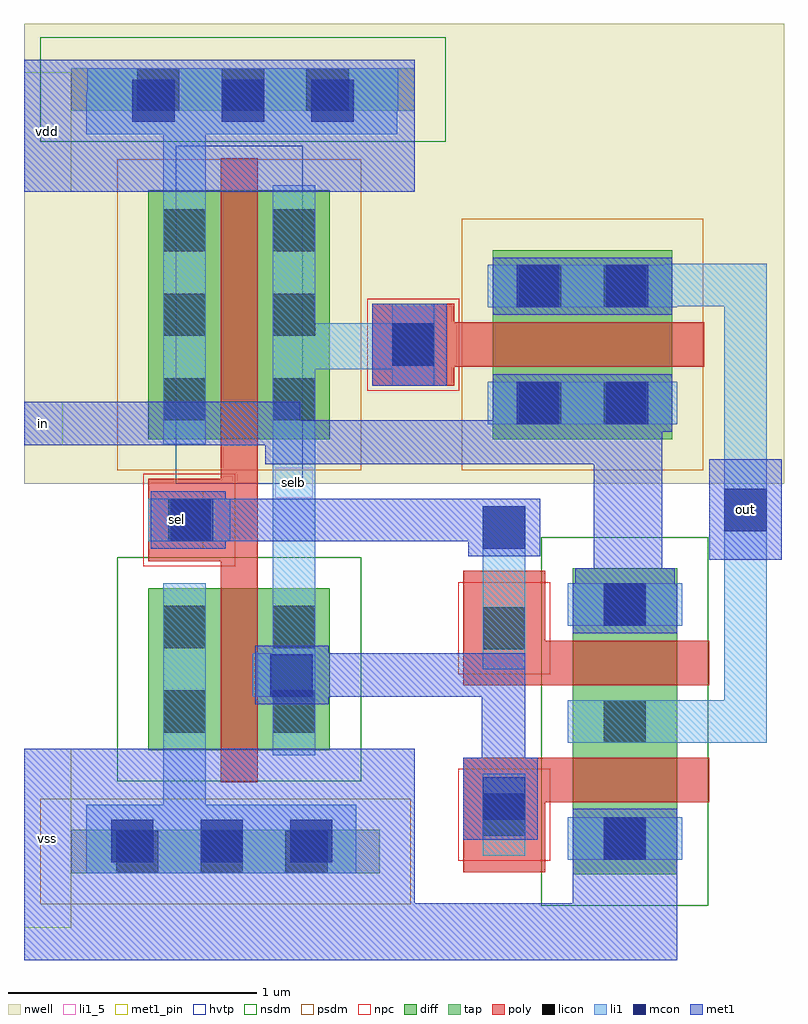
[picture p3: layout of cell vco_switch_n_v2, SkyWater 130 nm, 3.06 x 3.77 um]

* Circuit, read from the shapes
.subckt vco_switch_n_v2 in out sel selb vdd vss
XM1 selb sel vss vss sky130_fd_pr__nfet_01v8 w=0.65 l=0.15
XM2 out selb vss vss sky130_fd_pr__nfet_01v8 w=0.42 l=0.18
XM3 in sel out vss sky130_fd_pr__nfet_01v8 w=0.42 l=0.18
XM4 selb sel vdd vdd sky130_fd_pr__pfet_01v8_hvt w=1 l=0.15
XM5 out selb in vdd sky130_fd_pr__pfet_01v8 w=0.72 l=0.18
.ends

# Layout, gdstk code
from math import pi, radians
import gdstk
lib = gdstk.Library(unit=1e-6, precision=1e-09)
def R(c, l, rs):  # rectangles x0, y0, x1, y1
    for r in rs: c.add(gdstk.rectangle(r[:2], r[2:], *l))
def A(c, l, x, y, w, h, nx, ny, dx, dy):  # array of equal rectangles
    R(c, l, [(x+i*dx, y+j*dy, x+i*dx+w, y+j*dy+h) for i in range(nx) for j in range(ny)])
nwell = (64, 20)
diff = (65, 20)
tap = (65, 44)
poly = (66, 20)
licon = (66, 44)
li1_5 = (67, 5)
li1 = (67, 20)
mcon = (67, 44)
met1_pin = (68, 16)
met1 = (68, 20)
hvtp = (78, 44)
nsdm = (93, 44)
psdm = (94, 20)
npc = (95, 20)

sky130_fd_pr__pfet_01v8_ = lib.new_cell('sky130_fd_pr__pfet_01v8_hvt_N83GLL')
R(sky130_fd_pr__pfet_01v8_, nwell, [(-0.545,-0.68,0.545,0.81)])
R(sky130_fd_pr__pfet_01v8_, diff, [(-0.365,-0.5,0.365,0.5)])
R(sky130_fd_pr__pfet_01v8_, poly, [(-0.075,-0.66,0.075,0.63)])
A(sky130_fd_pr__pfet_01v8_, licon, -0.305, -0.425, 0.17, 0.17, 1, 3, 0, 0.34)
A(sky130_fd_pr__pfet_01v8_, licon, 0.135, -0.425, 0.17, 0.17, 1, 3, 0, 0.34)
R(sky130_fd_pr__pfet_01v8_, li1, [(-0.305,-0.52,-0.135,0.52), (0.135,-0.52,0.305,0.52)])
R(sky130_fd_pr__pfet_01v8_, hvtp, [(-0.255,-0.68,0.255,0.68)])
R(sky130_fd_pr__pfet_01v8_, psdm, [(-0.49,-0.625,0.49,0.625)])

sky130_fd_pr__nfet_01v8_ = lib.new_cell('sky130_fd_pr__nfet_01v8_M34CP3')
R(sky130_fd_pr__nfet_01v8_, diff, [(-0.365,-0.48,0.365,0.17)])
R(sky130_fd_pr__nfet_01v8_, poly, [(-0.075,-0.61,0.075,0.28), (-0.365,0.28,0.075,0.61)])
R(sky130_fd_pr__nfet_01v8_, licon, [(-0.305,-0.41,-0.135,-0.24), (0.135,-0.41,0.305,-0.24), (-0.305,-0.07,-0.135,0.1), (0.135,-0.07,0.305,0.1), (-0.285,0.36,-0.115,0.53)])
R(sky130_fd_pr__nfet_01v8_, li1, [(-0.305,-0.5,-0.135,0.19), (0.135,-0.5,0.305,0.19), (-0.365,0.36,-0.035,0.53)])
R(sky130_fd_pr__nfet_01v8_, nsdm, [(-0.49,-0.605,0.49,0.295)])
R(sky130_fd_pr__nfet_01v8_, npc, [(-0.385,0.26,-0.015,0.63)])

c_sky130_fd_pr__pfet_01v8_ = lib.new_cell('sky130_fd_pr__pfet_01v8_ACAZ2B')
R(c_sky130_fd_pr__pfet_01v8_, nwell, [(-0.56,-0.85,0.56,0.68)])
R(c_sky130_fd_pr__pfet_01v8_, diff, [(-0.38,-0.54,0.38,0.18)])
R(c_sky130_fd_pr__pfet_01v8_, poly, [(-0.09,-0.67,0.09,0.335), (-0.165,0.335,0.165,0.665)])
R(c_sky130_fd_pr__pfet_01v8_, licon, [(-0.32,-0.435,-0.15,-0.265), (0.15,-0.435,0.32,-0.265), (-0.32,-0.095,-0.15,0.075), (0.15,-0.095,0.32,0.075), (-0.085,0.415,0.085,0.585)])
R(c_sky130_fd_pr__pfet_01v8_, li1, [(-0.32,-0.56,-0.15,0.2), (0.15,-0.56,0.32,0.2), (-0.165,0.415,0.165,0.585)])
R(c_sky130_fd_pr__pfet_01v8_, mcon, [(-0.32,-0.445,-0.15,-0.275), (0.15,-0.445,0.32,-0.275), (-0.32,-0.085,-0.15,0.085), (0.15,-0.085,0.32,0.085), (-0.085,0.415,0.085,0.585)])
R(c_sky130_fd_pr__pfet_01v8_, met1, [(-0.35,-0.54,-0.12,0.18), (0.12,-0.54,0.35,0.18), (-0.145,0.385,0.145,0.615)])
R(c_sky130_fd_pr__pfet_01v8_, psdm, [(-0.505,-0.665,0.505,0.305)])
R(c_sky130_fd_pr__pfet_01v8_, npc, [(-0.185,0.315,0.185,0.685)])

c_sky130_fd_pr__nfet_01v8_ = lib.new_cell('sky130_fd_pr__nfet_01v8_HGTGXE_v2')
R(c_sky130_fd_pr__nfet_01v8_, diff, [(-0.38,-0.365,0.38,0.055)])
R(c_sky130_fd_pr__nfet_01v8_, poly, [(-0.09,-0.495,0.09,0.165), (-0.09,0.165,0.37,0.495)])
R(c_sky130_fd_pr__nfet_01v8_, licon, [(-0.32,-0.24,-0.15,-0.07), (0.15,-0.24,0.32,-0.07), (0.055,0.245,0.225,0.415)])
R(c_sky130_fd_pr__nfet_01v8_, li1, [(-0.32,-0.385,-0.15,0.075), (0.15,-0.385,0.32,0.075), (-0.025,0.245,0.305,0.415)])
R(c_sky130_fd_pr__nfet_01v8_, nsdm, [(-0.505,-0.49,0.505,0.18)])
R(c_sky130_fd_pr__nfet_01v8_, npc, [(-0.045,0.145,0.325,0.515)])

vco_switch_n_v2 = lib.new_cell('vco_switch_n_v2')
R(vco_switch_n_v2, nwell, [(1.88,4.225,4.66,4.76), (4.67,4.225,4.935,4.76), (1.88,4.76,4.935,6.075)])
R(vco_switch_n_v2, tap, [(2.07,2.66,3.31,2.835), (2.07,5.725,3.45,5.895)])
A(vco_switch_n_v2, licon, 2.25, 2.66, 0.17, 0.17, 3, 1, 0.34, 0)
A(vco_switch_n_v2, licon, 2.335, 5.725, 0.17, 0.17, 3, 1, 0.34, 0)
R(vco_switch_n_v2, li1_5, [(2.89,4.17,3.04,4.29)])
R(vco_switch_n_v2, li1, [(2.13,2.66,3.215,2.935), (4.065,2.715,4.525,2.885), (3.725,2.875,3.895,3.045), (2.44,2.935,2.61,3.135), (4.495,3.185,4.865,3.355), (4.695,3.355,4.865,4.94), (2.8,3.37,3.045,3.545), (4.145,3.655,4.445,3.825), (3.725,3.725,3.895,4.135), (2.88,3.825,3.05,4.385), (2.43,3.995,2.64,4.165), (3.05,4.685,3.49,4.87), (4.455,4.94,4.865,5.11), (2.44,5.425,2.61,5.63), (2.13,5.63,3.38,5.725), (2.13,5.725,3.385,5.8), (2.135,5.8,3.385,5.895)])
A(vco_switch_n_v2, mcon, 2.23, 2.705, 0.17, 0.17, 3, 1, 0.36, 0)
A(vco_switch_n_v2, mcon, 2.315, 5.68, 0.17, 0.17, 3, 1, 0.36, 0)
R(vco_switch_n_v2, mcon, [(4.21,2.715,4.38,2.885), (3.725,2.875,3.895,3.045), (2.87,3.37,3.04,3.54), (4.21,3.655,4.38,3.825), (3.725,3.965,3.895,4.135), (2.47,3.995,2.64,4.165), (4.695,4.035,4.865,4.205)])
R(vco_switch_n_v2, met1_pin, [(1.88,2.44,2.07,3.16), (4.635,3.92,4.925,4.325), (2.39,3.965,2.6,4.195), (1.88,4.38,2.035,4.555), (1.88,5.4,2.07,5.88)])
R(vco_switch_n_v2, met1, [(1.88,2.31,4.505,2.54), (1.88,2.54,3.45,3.16), (4.085,2.54,4.505,2.92), (3.645,2.795,3.945,3.125), (3.72,3.125,3.895,3.37), (2.81,3.34,3.105,3.37), (2.81,3.37,3.895,3.545), (2.81,3.545,3.105,3.575), (4.085,3.625,4.505,3.82), (4.085,3.82,4.495,3.825), (4.095,3.825,4.495,3.885), (4.17,3.885,4.445,4.305), (4.635,3.92,4.925,4.325), (3.665,3.935,3.955,3.995), (2.39,3.965,2.69,3.995), (2.39,3.995,3.955,4.165), (2.39,4.165,2.69,4.195), (2.85,4.305,4.445,4.38), (1.88,4.38,4.445,4.48), (1.88,4.48,2.99,4.555), (3.28,4.62,3.58,4.95), (1.88,5.4,3.45,5.93)])
R(vco_switch_n_v2, nsdm, [(1.945,5.6,3.575,6.02)])
R(vco_switch_n_v2, psdm, [(1.945,2.535,3.435,2.96)])
vco_switch_n_v2.add(gdstk.Reference(sky130_fd_pr__pfet_01v8_, (2.745,4.905)))
vco_switch_n_v2.add(gdstk.Reference(sky130_fd_pr__nfet_01v8_, (2.745,3.635)))
vco_switch_n_v2.add(gdstk.Reference(c_sky130_fd_pr__pfet_01v8_, (3.945,4.785), rotation=pi/2))
vco_switch_n_v2.add(gdstk.Reference(c_sky130_fd_pr__nfet_01v8_, (4.14,3.505), rotation=pi/2))
vco_switch_n_v2.add(gdstk.Reference(c_sky130_fd_pr__nfet_01v8_, (4.14,3.035), rotation=3*pi/2, x_reflection=True))
vco_switch_n_v2.add(gdstk.Label('selb', (2.965,4.23), layer=67, texttype=5))
vco_switch_n_v2.add(gdstk.Label('in', (1.957,4.467), layer=68, texttype=16))
vco_switch_n_v2.add(gdstk.Label('sel', (2.495,4.08), layer=68, texttype=16))
vco_switch_n_v2.add(gdstk.Label('out', (4.78,4.122), layer=68, texttype=16))
vco_switch_n_v2.add(gdstk.Label('vss', (1.975,2.8), layer=68, texttype=16))
vco_switch_n_v2.add(gdstk.Label('vdd', (1.975,5.64), layer=68, texttype=16))

lib.write_gds('vco_switch_n_v2.gds')
